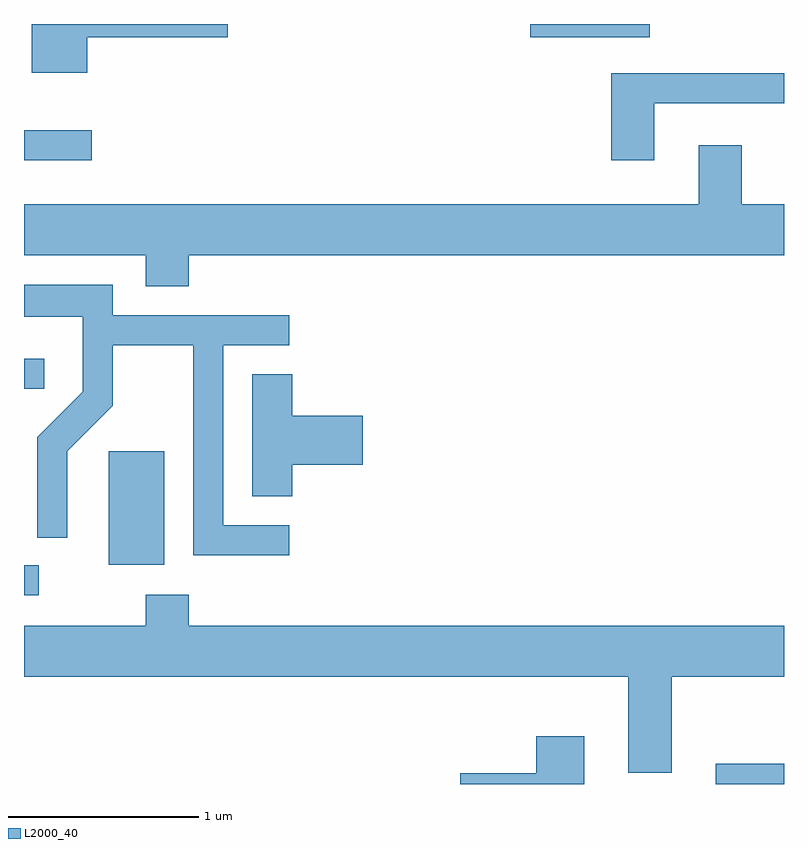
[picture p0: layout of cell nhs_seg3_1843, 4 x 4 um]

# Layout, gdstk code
import gdstk
lib = gdstk.Library(unit=1e-6, precision=1e-09)
def R(c, l, rs):  # rectangles x0, y0, x1, y1
    for r in rs: c.add(gdstk.rectangle(r[:2], r[2:], *l))
def P(c, l, *ps):  # polygons
    for p in ps: c.add(gdstk.Polygon(p, *l))
L2000_40 = (2000, 40)

nhs_seg3_1843 = lib.new_cell('nhs_seg3_1843')
R(nhs_seg3_1843, L2000_40, [(243.251,1129.892,243.611,1129.999), (239.611,1130.886,239.688,1131.044), (240.056,1131.046,240.349,1131.644), (239.611,1131.971,239.718,1132.129), (239.611,1133.176,239.968,1133.334), (242.276,1133.821,242.904,1133.892)])
P(nhs_seg3_1843, L2000_40, [(239.944,1133.821),(240.684,1133.821),(240.684,1133.892),(239.651,1133.892),(239.651,1133.636),(239.944,1133.636)],
  [(242.929,1133.476),(243.611,1133.476),(243.611,1133.634),(242.701,1133.634),(242.701,1133.176),(242.929,1133.176)],
  [(240.479,1132.676),(243.611,1132.676),(243.611,1132.944),(243.389,1132.944),(243.389,1133.254),(243.161,1133.254),(243.161,1132.944),(239.611,1132.944),(239.611,1132.676),(240.251,1132.676),(240.251,1132.511),(240.479,1132.511)],
  [(241.008,1131.254),(240.659,1131.254),(240.659,1132.201),(241.008,1132.201),(241.008,1132.359),(240.079,1132.359),(240.079,1132.519),(239.611,1132.519),(239.611,1132.351),(239.921,1132.351),(239.921,1131.957),(239.681,1131.717),(239.681,1131.188),(239.839,1131.188),(239.839,1131.644),(240.079,1131.884),(240.079,1132.201),(240.501,1132.201),(240.501,1131.096),(241.008,1131.096)],
  [(241.024,1131.571),(241.394,1131.571),(241.394,1131.829),(241.024,1131.829),(241.024,1132.049),(240.811,1132.049),(240.811,1131.406),(241.024,1131.406)],
  [(243.019,1130.456),(243.611,1130.456),(243.611,1130.724),(240.479,1130.724),(240.479,1130.889),(240.251,1130.889),(240.251,1130.724),(239.611,1130.724),(239.611,1130.456),(242.791,1130.456),(242.791,1129.951),(243.019,1129.951)],
  [(242.559,1130.144),(242.306,1130.144),(242.306,1129.949),(241.906,1129.949),(241.906,1129.892),(242.559,1129.892)])

lib.write_gds('nhs_seg3_1843.gds')
